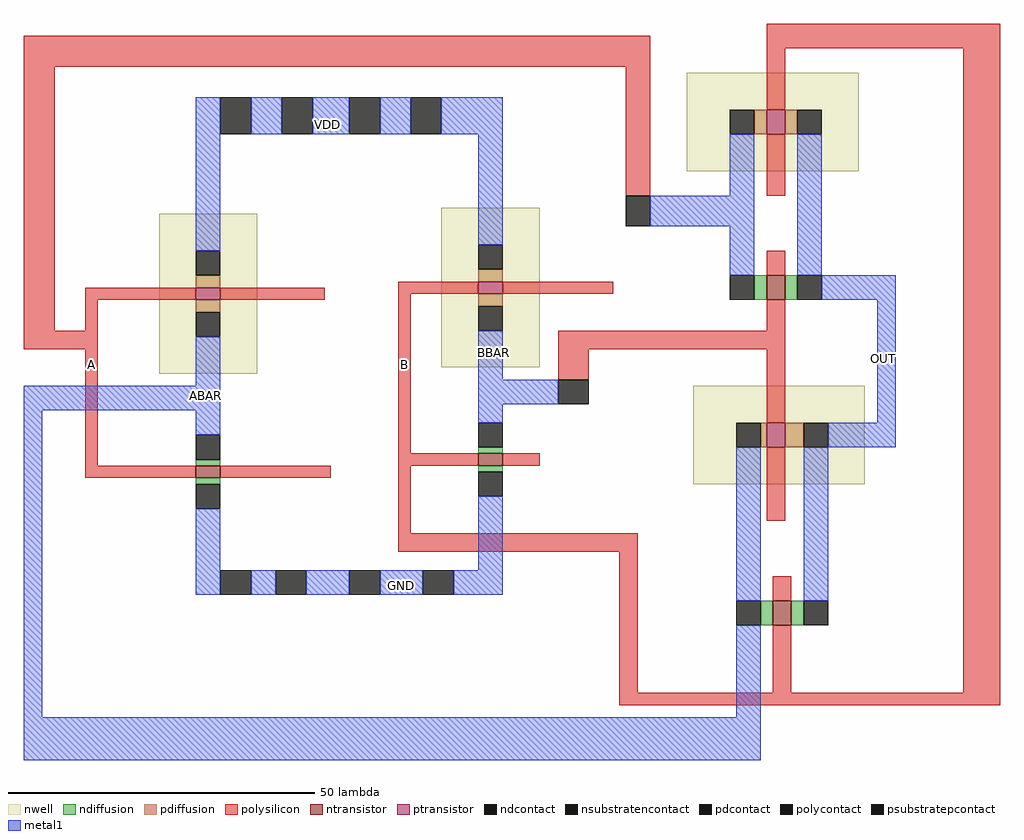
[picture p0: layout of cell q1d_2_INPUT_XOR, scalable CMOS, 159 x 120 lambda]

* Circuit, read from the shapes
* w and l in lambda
.subckt q1d_2_INPUT_XOR A ABAR B BBAR GND OUT VDD
M1 ABAR A GND GND nfet w=4 l=2
M2 BBAR B GND GND nfet w=4 l=2
M3 OUT BBAR A GND nfet w=4 l=3
M4 OUT B ABAR GND nfet w=4 l=3
M5 VDD A ABAR n1 pfet w=4 l=2
M6 VDD B BBAR n2 pfet w=4 l=2
M7 OUT BBAR ABAR n3 pfet w=4 l=3
M8 OUT B A n4 pfet w=4 l=3
.ends

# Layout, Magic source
magic
tech scmos
<< nwell >>
rect 52 34 80 50
rect -34 1 -18 27
rect 12 2 28 28
rect 53 -17 81 -1
<< ntransistor >>
rect 65 13 68 17
rect 18 -14 22 -12
rect -28 -16 -24 -14
rect 66 -40 69 -36
<< ptransistor >>
rect 65 40 68 44
rect -28 13 -24 15
rect 18 14 22 16
rect 65 -11 68 -7
<< ndiffusion >>
rect -28 -14 -24 -13
rect 63 13 65 17
rect 68 13 70 17
rect 18 -12 22 -11
rect -28 -17 -24 -16
rect 18 -15 22 -14
rect 64 -40 66 -36
rect 69 -40 71 -36
<< pdiffusion >>
rect 63 40 65 44
rect 68 40 70 44
rect -28 15 -24 17
rect 18 16 22 18
rect -28 11 -24 13
rect 18 12 22 14
rect 64 -11 65 -7
rect 68 -11 71 -7
<< ndcontact >>
rect -28 -13 -24 -9
rect 59 13 63 17
rect 70 13 74 17
rect 18 -11 22 -7
rect -28 -21 -24 -17
rect 18 -19 22 -15
rect 60 -40 64 -36
rect 71 -40 75 -36
<< pdcontact >>
rect 59 40 63 44
rect 70 40 74 44
rect -28 17 -24 21
rect 18 18 22 22
rect -28 7 -24 11
rect 18 8 22 12
rect 60 -11 64 -7
rect 71 -11 75 -7
<< psubstratepcontact >>
rect -24 -35 -19 -31
rect -15 -35 -10 -31
rect -3 -35 2 -31
rect 9 -35 14 -31
<< nsubstratencontact >>
rect -24 40 -19 46
rect -14 40 -9 46
rect -3 40 2 46
rect 7 40 12 46
<< polysilicon >>
rect -56 51 46 56
rect -56 8 -51 51
rect 42 30 46 51
rect 65 54 103 58
rect 65 44 68 54
rect 65 30 68 40
rect 65 17 68 21
rect -46 13 -28 15
rect -24 13 -7 15
rect 5 14 18 16
rect 22 14 40 16
rect -46 8 -44 13
rect -56 5 -44 8
rect -46 -14 -44 5
rect 5 -12 7 14
rect 65 8 68 13
rect 31 5 68 8
rect 31 0 36 5
rect 65 -7 68 5
rect 5 -14 18 -12
rect 22 -14 28 -12
rect -46 -16 -28 -14
rect -24 -16 -6 -14
rect 5 -25 7 -14
rect 65 -23 68 -11
rect 5 -28 44 -25
rect 41 -51 44 -28
rect 66 -36 69 -32
rect 66 -51 69 -40
rect 97 -51 103 54
rect 41 -53 103 -51
<< polycontact >>
rect 42 25 46 30
rect 31 -4 36 0
<< metal1 >>
rect -28 21 -24 46
rect -19 40 -14 46
rect -9 40 -3 46
rect 2 40 7 46
rect 12 40 22 46
rect 18 22 22 40
rect 59 30 63 40
rect 46 25 63 30
rect 59 17 63 25
rect 70 17 74 40
rect 74 13 86 17
rect -28 -1 -24 7
rect -56 -5 -24 -1
rect -56 -55 -53 -5
rect -28 -9 -24 -5
rect 18 0 22 8
rect 18 -4 31 0
rect 18 -7 22 -4
rect 83 -7 86 13
rect -28 -35 -24 -21
rect 18 -31 22 -19
rect -19 -35 -15 -31
rect -10 -35 -3 -31
rect 2 -35 9 -31
rect 14 -35 22 -31
rect 60 -36 64 -11
rect 75 -11 86 -7
rect 71 -36 75 -11
rect 60 -55 64 -40
rect -56 -62 64 -55
<< labels >>
rlabel polysilicon -45 2 -45 3 1 A
rlabel polysilicon 6 2 6 3 1 B
rlabel metal1 84 3 84 4 1 OUT
rlabel metal1 -27 -4 -26 -1 1 ABAR
rlabel metal1 20 3 21 6 1 BBAR
rlabel metal1 -7 41 -6 42 1 VDD
rlabel metal1 5 -34 6 -33 1 GND
<< end >>
